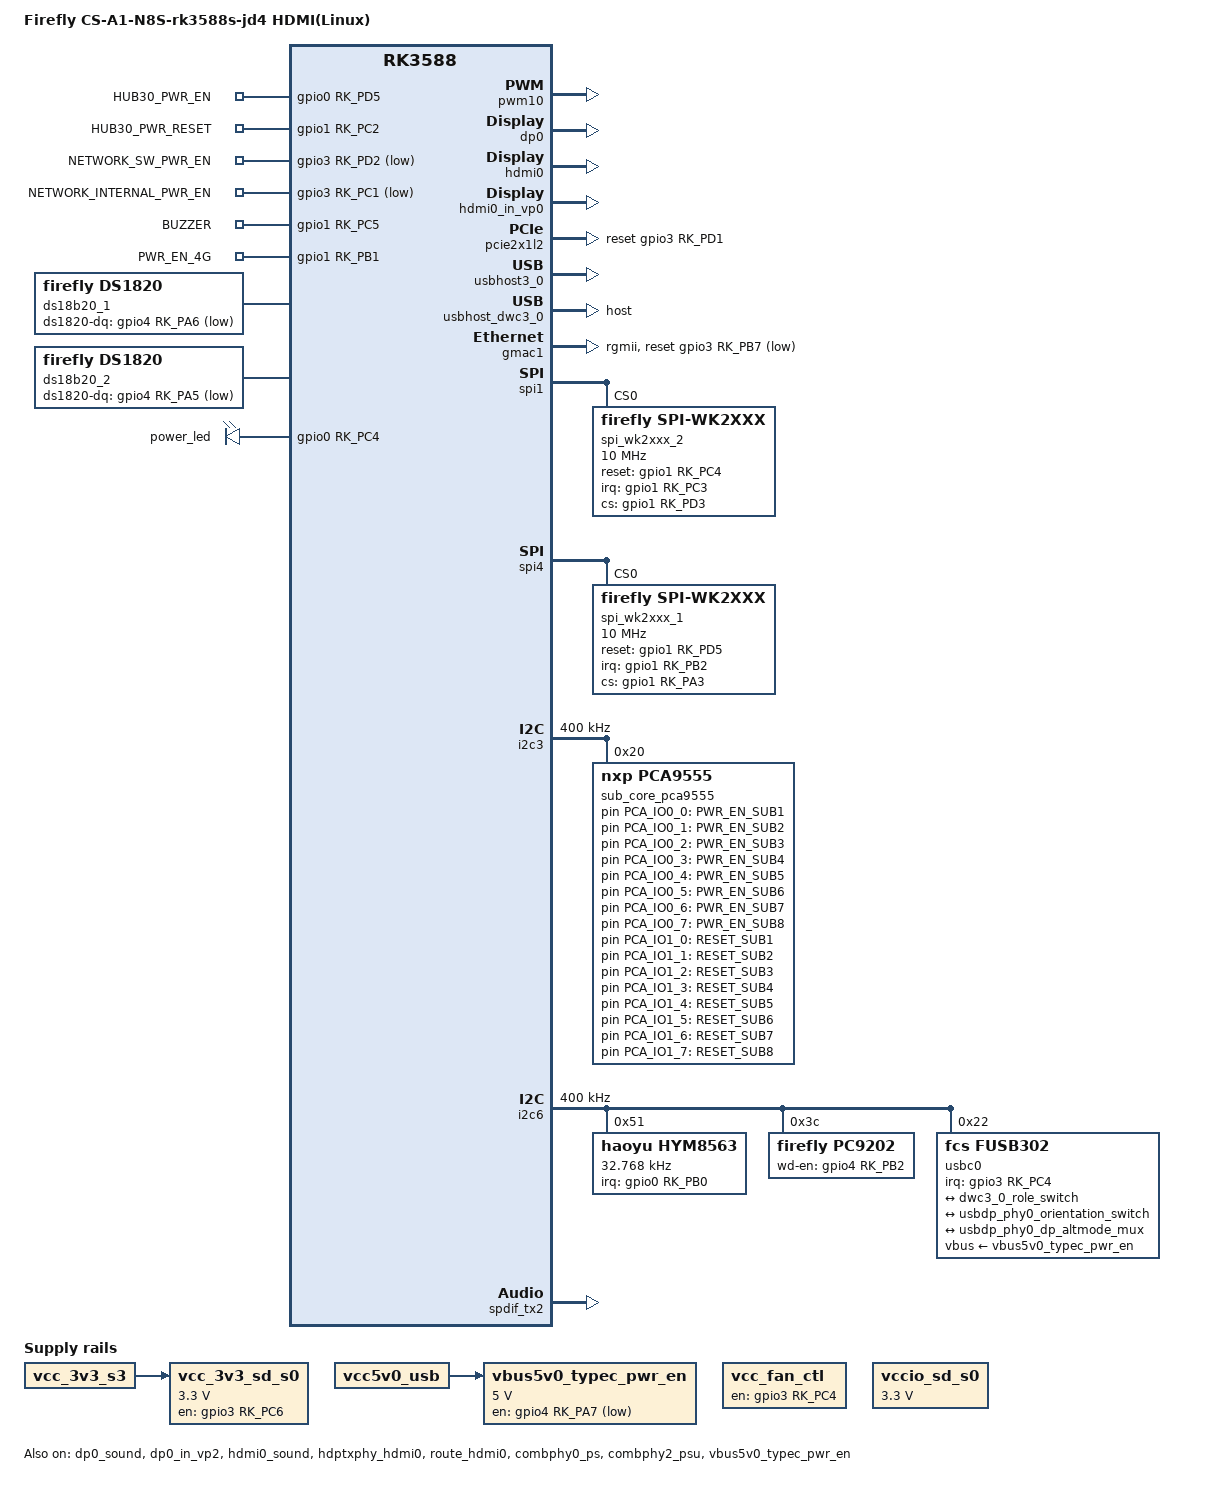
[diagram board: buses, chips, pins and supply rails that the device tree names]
// SPDX-License-Identifier: (GPL-2.0+ OR MIT)
/*
 * Copyright (c) 2021 Firefly Electronics Co., Ltd.
 *
 */

/dts-v1/;

// #include "aio-3588sjd4.dtsi"
// #include "aio-3588sjd4-cam-8ms1m.dtsi"
// #include "aio-3588sjd4-cam-dcphy-8ms1m.dtsi"

// SPDX-License-Identifier: (GPL-2.0+ OR MIT)
/*
 * Copyright (c) 2021 T-chip Firefly Electronics Co., Ltd.
 *
 */

#include "rk3588-firefly-port.dtsi"

/ {
	model = "Firefly CS-A1-N8S-3588s-jd4-main HDMI(Linux)";
	compatible = "rockchip,aio-3588sjd4", "rockchip,rk3588";
};


// SPDX-License-Identifier: (GPL-2.0+ OR MIT)
/*
 * Copyright (c) 2021 T-chip Firefly Electronics Co., Ltd.
 *
 */

#include "rk3588-firefly-port.dtsi"

/ {
	chosen: chosen {
		bootargs = "earlycon=uart8250,mmio32,0xfeb50000 console=ttyFIQ0 irqchip.gicv3_pseudo_nmi=0 root=PARTLABEL=rootfs rootfstype=ext4 ro rootwait overlayroot=device:dev=PARTLABEL=userdata,fstype=ext4,mkfs=1 coherent_pool=1m systemd.gpt_auto=0 cgroup_enable=memory swapaccount=1";
	};
	firefly_leds: leds {
		// pinctrl-names = "default";
		// pinctrl-0 =<&leds_gpio>;
		// power_led: power {
		// 	gpios = <&gpio1 RK_PD2 GPIO_ACTIVE_HIGH>;//blue led
		// };

		// user_led: user {
		// 	gpios = <&gpio1 RK_PC1 GPIO_ACTIVE_HIGH>;//red led
		// };
	};

        // vcc_4g_pwren: vcc-4g-pwren-regulator {
        //         compatible = "regulator-fixed";
        //         regulator-name = "vcc_4g_pwren";
        //         regulator-always-on;
        //         enable-active-high;
        //         status = "okay";
        //         gpio = <&pca9555 PCA_IO1_4 GPIO_ACTIVE_HIGH>;
        // };

        vcc_fan_ctl: vcc-fan-ctl-regulator {
                compatible = "regulator-fixed";
                regulator-name = "vcc_fan_ctl";
                regulator-always-on;
                enable-active-high;
                status = "okay";
                gpio = <&gpio3 RK_PC4 GPIO_ACTIVE_HIGH>;
        };

	vcc_3v3_sd_s0: vcc-3v3-sd-s0 {
		compatible = "regulator-fixed";
		regulator-name = "vcc_3v3_sd_s0";
		regulator-min-microvolt = <3300000>;
		regulator-max-microvolt = <3300000>;
		gpios = <&gpio3 RK_PC6 GPIO_ACTIVE_HIGH>;
		enable-active-high;
		vin-supply = <&vcc_3v3_s3>;
			regulator-state-mem {
			regulator-off-in-suspend;
		};
	};

    // vcc_3v0_sata: vcc-3v0-sata-regulator {
    //     compatible = "regulator-fixed";
    //     regulator-name = "vcc_3v0_sata";
    //     regulator-always-on;
    //     enable-active-high;
    //     status = "okay";
    //     gpio = <&pca9555 PCA_IO0_0 GPIO_ACTIVE_HIGH>;
    // };


    // gl3321g: gl3321g-pwr-gpio {
    //     compatible = "firefly,gl3321g-gpio";
    //     firefly-mdelay = <500>;
    //     firefly-gl3321g-gpio = <&pca9555 PCA_IO1_5 GPIO_ACTIVE_HIGH>;
    //     status = "okay";
    // };


        // wireless_bluetooth: wireless-bluetooth {
        //         compatible = "bluetooth-platdata";
        //         clocks = <&hym8563>;
        //         clock-names = "ext_clock";
        //         uart_rts_gpios = <&gpio3 RK_PD2 GPIO_ACTIVE_LOW>;
        //         pinctrl-names = "default", "rts_gpio";
        //         pinctrl-0 = <&uart9m2_rtsn>,  <&bt_reset_gpio>, <&bt_wake_gpio>, <&bt_irq_gpio>;
        //         pinctrl-1 = <&uart9_gpios>;
        //         BT,reset_gpio    = <&gpio0 RK_PD0 GPIO_ACTIVE_HIGH>;
        //         BT,wake_gpio     = <&gpio0 RK_PC6 GPIO_ACTIVE_HIGH>;
        //         BT,wake_host_irq = <&gpio0 RK_PC5 GPIO_ACTIVE_HIGH>;
        //         status = "okay";
        // };

        // wireless_wlan: wireless-wlan {
        //         compatible = "wlan-platdata";
        //         wifi_chip_type = "ap6275p";
        //         pinctrl-names = "default";
        //         pinctrl-0 = <&wifi_host_wake_irq>, <&wifi_poweren_gpio>;
        //         WIFI,host_wake_irq = <&gpio0 RK_PA0 GPIO_ACTIVE_HIGH>;
        //         WIFI,poweren_gpio = <&gpio0 RK_PC7 GPIO_ACTIVE_HIGH>;
        //         status = "okay";
        // };

	firefly_wake {
		compatible = "firefly-wake";
		status = "okay";
	};
};


/ {
	model = "Firefly CS-A1-N8S-rk3588s-jd4 HDMI(Linux)";
	compatible = "rockchip,aio-3588sjd4", "rockchip,rk3588";

	ds18b20_1 {
		compatible = "firefly,ds1820";
		status = "okay";
		ds1820-dq = <&gpio4 RK_PA6 GPIO_ACTIVE_LOW>; //GPIO4_A6 TEMP_DET_1
		ds18b20-id = <1>;
		pinctrl-names = "default";
		pinctrl-0 = <&ds18b20_dp_1_pin>;
	};

	ds18b20_2 {
		compatible = "firefly,ds1820";
		ds1820-dq = <&gpio4 RK_PA5 GPIO_ACTIVE_LOW>; //GPIO4_A5 TEMP_DET_2
		ds18b20-id = <2>;
		status = "okay";
		pinctrl-names = "default";
		pinctrl-0 = <&ds18b20_dp_2_pin>;
	};


	leds {
		compatible = "gpio-leds";
		status = "okay";
		/delete-node/ user;

		HUB30_PWR_EN {
			//BMC LED
			label = "HUB30_PWR_EN";
			gpios = <&gpio0 RK_PD5 GPIO_ACTIVE_HIGH>;	//GPIO0_D5
			default-state = "on";
			retain-state-shutdown;
		};

		HUB30_PWR_RESET {
			label = "HUB30_PWR_RESET";
			gpios = <&gpio1 RK_PC2 GPIO_ACTIVE_HIGH>;   //GPIO1_C2
			default-state = "off";
			retain-state-shutdown;
		};

		NETWORK_SW_PWR_EN {
			label = "NETWORK_SW_PWR_EN";
			gpios = <&gpio3 RK_PD2 GPIO_ACTIVE_LOW>;   //GPIO3_D2
			default-state = "on";
			retain-state-shutdown;
		};

		NETWORK_INTERNAL_PWR_EN {
			label = "NETWORK_INTERNAL_PWR_EN";
			gpios = <&gpio3 RK_PC1 GPIO_ACTIVE_LOW>;   // GPIO3_C1
			default-state = "on";
		};

		// SW_9310_RESET_H {
		// 	label = "SW_9310_RESET_H";
		// 	gpios = <&gpio0 RK_PC0 GPIO_ACTIVE_HIGH>;   //GPIO0_C0
		// 	default-state = "off";
		// };


		//子板的reset脚，写0会reset子板
		PWR_EN_SUB1 {
			label = "PWR_EN_SUB1";
			gpios = <&sub_core_pca9555 PCA_IO0_0 GPIO_ACTIVE_HIGH>;	///GPIO4_B3
			default-state = "on";
			retain-state-shutdown;
		};

		PWR_EN_SUB2 {
			label = "PWR_EN_SUB2";
			gpios = <&sub_core_pca9555 PCA_IO0_1 GPIO_ACTIVE_HIGH>;	//GPIO4_B2
			default-state = "on";
			retain-state-shutdown;
		};

		PWR_EN_SUB3 {
			label = "PWR_EN_SUB3";
			gpios = <&sub_core_pca9555 PCA_IO0_2 GPIO_ACTIVE_HIGH>;	//GPIO4_D1
			default-state = "on";
			retain-state-shutdown;
		};

		PWR_EN_SUB4 {
			label = "PWR_EN_SUB4";
			gpios = <&sub_core_pca9555 PCA_IO0_3 GPIO_ACTIVE_HIGH>;	//GPIO4_D3
			default-state = "on";
			retain-state-shutdown;
		};

		PWR_EN_SUB5 {
			label = "PWR_EN_SUB5";
			gpios = <&sub_core_pca9555 PCA_IO0_4 GPIO_ACTIVE_HIGH>;	//GPIO4_D4
			default-state = "on";
			retain-state-shutdown;
		};

		PWR_EN_SUB6 {
			label = "PWR_EN_SUB6";
			gpios = <&sub_core_pca9555 PCA_IO0_5 GPIO_ACTIVE_HIGH>;	//GPIO4_D2
			default-state = "on";
			retain-state-shutdown;
		};

		PWR_EN_SUB7 {
			label = "PWR_EN_SUB7";
			gpios = <&sub_core_pca9555 PCA_IO0_6 GPIO_ACTIVE_HIGH>;	//GPIO4_B4
			default-state = "on";
			retain-state-shutdown;
		};

		PWR_EN_SUB8 {
			label = "PWR_EN_SUB8";
			gpios = <&sub_core_pca9555 PCA_IO0_7 GPIO_ACTIVE_HIGH>;	//GPIO4_D0
			default-state = "on";
			retain-state-shutdown;
		};

		////////////////////////RESET////////////////////////////

		RESET_SUB1 {
			label = "RESET_SUB1";
			gpios = <&sub_core_pca9555 PCA_IO1_0 GPIO_ACTIVE_HIGH>;	//GPIO1_C2
			default-state = "off";
			retain-state-shutdown;
		};

		RESET_SUB2 {
			label = "RESET_SUB2";
			gpios = <&sub_core_pca9555 PCA_IO1_1 GPIO_ACTIVE_HIGH>;	//GPIO1_C5
			default-state = "off";
			retain-state-shutdown;
		};

		RESET_SUB3 {
			label = "RESET_SUB3";
			gpios = <&sub_core_pca9555 PCA_IO1_2 GPIO_ACTIVE_HIGH>;	//GPIO1_C7
			default-state = "off";
			retain-state-shutdown;
		};

		RESET_SUB4 {
			label = "RESET_SUB4";
			gpios = <&sub_core_pca9555 PCA_IO1_3 GPIO_ACTIVE_HIGH>;	//GPIO1_D4
			default-state = "off";
			retain-state-shutdown;
		};

		RESET_SUB5 {
			label = "RESET_SUB5";
			gpios = <&sub_core_pca9555 PCA_IO1_4 GPIO_ACTIVE_HIGH>;	//GPIO1_C3
			default-state = "off";
			retain-state-shutdown;
		};

		RESET_SUB6 {
			label = "RESET_SUB6";
			gpios = <&sub_core_pca9555 PCA_IO1_5 GPIO_ACTIVE_HIGH>;	//GPIO1_D2
			default-state = "off";
			retain-state-shutdown;
		};

		RESET_SUB7 {
			label = "RESET_SUB7";
			gpios = <&sub_core_pca9555 PCA_IO1_6 GPIO_ACTIVE_HIGH>;	///GPIO1_D5
			default-state = "off";
			retain-state-shutdown;
		};

		RESET_SUB8 {
			label = "RESET_SUB8";
			gpios = <&sub_core_pca9555 PCA_IO1_7 GPIO_ACTIVE_HIGH>;	//GPIO1_C4
			default-state = "off";
			retain-state-shutdown;
		};


		// SEL_NORMAL_SUB1 {
		// 	label = "SEL_NORMAL_SUB1";
		// 	gpios = <&gpio1 RK_PB3 GPIO_ACTIVE_LOW>;	//GPIO1_B3
		// 	default-state = "on";
		// };

		// SEL_NORMAL_SUB2 {
		// 	label = "SEL_NORMAL_SUB2";
		// 	gpios = <&gpio1 RK_PB2 GPIO_ACTIVE_LOW>;	//GPIO1_B2
		// 	default-state = "on";
		// };

		// SEL_NORMAL_SUB3 {
		// 	label = "SEL_NORMAL_SUB3";
		// 	gpios = <&gpio1 RK_PA0 GPIO_ACTIVE_LOW>;	//GPIO1_A0
		// 	default-state = "on";
		// };

		// SEL_NORMAL_SUB4 {
		// 	label = "SEL_NORMAL_SUB4";
		// 	gpios = <&gpio1 RK_PA3 GPIO_ACTIVE_LOW>;	//GPIO1_A3
		// 	default-state = "on";
		// };

		// SEL_NORMAL_SUB5 {
		// 	label = "SEL_NORMAL_SUB5";
		// 	gpios = <&gpio1 RK_PA1 GPIO_ACTIVE_LOW>;	//GPIO1_A1
		// 	default-state = "on";
		// };

		// SEL_NORMAL_SUB6 {
		// 	label = "SEL_NORMAL_SUB6";
		// 	gpios = <&gpio1 RK_PA2 GPIO_ACTIVE_LOW>;	//GPIO1_A2
		// 	default-state = "on";
		// };

		// SEL_NORMAL_SUB7 {
		// 	label = "SEL_NORMAL_SUB7";
		// 	gpios = <&gpio1 RK_PD3 GPIO_ACTIVE_LOW>;	//GPIO1_D3
		// 	default-state = "on";
		// };

		// SEL_NORMAL_SUB8 {
		// 	label = "SEL_NORMAL_SUB8";
		// 	gpios = <&gpio1 RK_PC6 GPIO_ACTIVE_LOW>;	//GPIO1_C6
		// 	default-state = "on";
		// };


		BUZZER {
			//BMC LED
			label = "BUZZER";
			gpios = <&gpio1 RK_PC5 GPIO_ACTIVE_HIGH>;	//GPIO1_C5
			default-state = "off";
			pinctrl-names = "default";
			pinctrl-0 = <&buzzer_ctl>;
		};

		PWR_EN_4G {
			//BMC LED
			label = "PWR_EN_4G";
			gpios = <&gpio1 RK_PB1 GPIO_ACTIVE_HIGH>;	//GPIO1_B1
			default-state = "on";
		};
	};
};

// FAN_PWM
&pwm10 {
	pinctrl-0 = <&pwm10m2_pins>;
	status = "okay";
};


// //FAN1 PWM8_M2
// &pwm8 {
// 	pinctrl-0 = <&pwm8m2_pins>;
// 	status = "okay";
// };

// //FAN2 PWM9_M2
// &pwm9 {
// 	pinctrl-0 = <&pwm9m2_pins>;
// 	status = "okay";
// };

// //FAN3 PWM11_IR_M3
// &pwm11 {
// 	pinctrl-0 = <&pwm11m3_pins>;
// 	status = "okay";
// };

// //FAN4 PWM7_IR_M0
// &pwm7 {
// 	pinctrl-0 = <&pwm7m0_pins>;
// 	status = "okay";
// };

// //FAN5 PWM0_M0
// &pwm0 {
// 	pinctrl-0 = <&pwm0m0_pins>;
// 	status = "okay";
// };

// //FAN6 PWM6_M0
// &pwm6 {
// 	pinctrl-0 = <&pwm6m0_pins>;
// 	status = "okay";
// };

&i2c2 {
	status = "okay";
 };

&power_led {
	gpios = <&gpio0 RK_PC4 GPIO_ACTIVE_HIGH>;
};



// /* es8323 audio codec */
// &es8388_sound {
// 	status = "okay";
// 	compatible = "firefly,multicodecs-card";
// 	rockchip,card-name = "rockchip-es8388";
// 	hp-det-gpio = <&gpio1 RK_PC0 GPIO_ACTIVE_LOW>;
// 	hp-con-gpio = <&gpio3 RK_PC0 GPIO_ACTIVE_HIGH>;
// 	io-channels = <&saradc 4>;
// 	io-channel-names = "adc-detect";
// 	spk-con-gpio = <&gpio4 RK_PA0 GPIO_ACTIVE_HIGH>;
// 	rockchip,cpu = <&i2s0_8ch>;
// 	rockchip,codec = <&es8388_1>;
// 	rockchip,audio-routing =
// 			"Headphone", "LOUT1",
// 			"Headphone", "ROUT1",
// 			"Speaker", "LOUT2",
// 			"Speaker", "ROUT2",
// 			"Headphone", "Headphone Power",
// 			"Headphone", "Headphone Power",
// 	                "Speaker", "Speaker Power",
// 	                "Speaker", "Speaker Power",
// 			"LINPUT1", "Main Mic",
// 			"LINPUT2", "Main Mic",
// 			"RINPUT1", "Headset Mic",
// 			"RINPUT2", "Headset Mic";
// 	linein-type = <2>;
// 	pinctrl-names = "default";
// 	pinctrl-0 = <&hp_det>;
// };

// &i2c7 {
//         status = "okay";
//         pinctrl-names = "default";
//         pinctrl-0 = <&i2c7m0_xfer>;
//         es8388_1: es8388_1@11 {
// 		status = "okay";
//                 #sound-dai-cells = <0>;
//                 compatible = "everest,es8388", "everest,es8323";
//                 reg = <0x11>;
//                 clocks = <&cru I2S0_8CH_MCLKOUT>;
//                 clock-names = "mclk";
//                 assigned-clocks = <&cru I2S0_8CH_MCLKOUT>;
//                 assigned-clock-rates = <12288000>;
//                 pinctrl-names = "default";
//                 pinctrl-0 = <&i2s0_mclk>;
//         };
// };

&i2s0_8ch{
	status = "disabled";
};

/* display port0 */
&dp0_sound{
		status = "okay";
};

&dp0 {
	status = "okay";
};

&dp0_in_vp2 {
	status = "okay";
};

/* hdmi0 */
&hdmi0 {
	enable-gpios = <&gpio4 RK_PB6 GPIO_ACTIVE_HIGH>;
	status = "okay";
};

&hdmi0_in_vp0 {
	status = "okay";
};

&hdmi0_sound {
		status = "okay";
};

&hdptxphy_hdmi0 {
	status = "okay";
};

&route_hdmi0{
	status = "okay";
};

/* pcie2.0 */
&combphy0_ps {
	status = "okay";
};

&pcie2x1l1 {
	//reset-gpios = <&gpio4 RK_PA2 GPIO_ACTIVE_HIGH>;
	rockchip,skip-scan-in-resume;
	status = "disabled";
};

&sata2 {
	status = "disabled";
};



//pci
&pcie2x1l2 {
	//reset-gpios = <&gpio4 RK_PA2 GPIO_ACTIVE_HIGH>;
	reset-gpios = <&gpio3 RK_PD1 GPIO_ACTIVE_HIGH>;
	//prsnt-gpios = <&gpio4 RK_PA2 GPIO_ACTIVE_HIGH>;
	rockchip,skip-scan-in-resume;
	status = "okay";
};

/* usb3.0 */
&combphy2_psu {
	status = "okay";
};

&usbhost3_0 {
	status = "okay";
};

&usbhost_dwc3_0 {
	status = "okay";
	dr_mode = "host";
};


&vcc5v0_host {
	status = "okay";
 	// /delete-property/ regulator-boot-on;
	gpio = <&gpio4 RK_PB5 GPIO_ACTIVE_HIGH>;		//GPIO4_B5_d
	// /delete-property/ pinctrl-names;
	// /delete-property/ pinctrl-0;
};

// /* usb2.0 hub */
// &vcc_hub_reset {
// 	status = "okay";
// 	regulator-name = "vcc_hub2_reset";
// 	gpio = <&pca9555 PCA_IO0_7 GPIO_ACTIVE_HIGH>;
// };


/* typec0 */
&vbus5v0_typec_pwr_en {
	status = "okay";
	regulator-min-microvolt = <5000000>;
	regulator-max-microvolt = <5000000>;
	gpios = <&gpio4 RK_PA7 GPIO_ACTIVE_HIGH>;   ///GPIO4_A7

	vin-supply = <&vcc5v0_usb>;
	pinctrl-names = "default";
	pinctrl-0 = <&vbus5v0_typec_pwr_en_gpio>;
};

&gmac1{
 	snps,reset-gpio = <&gpio3 RK_PB7 GPIO_ACTIVE_LOW>;
	phy-mode = "rgmii";
	tx_delay = <0x45>;
	rx_delay = <0x34>;
	status = "okay";
};

&spi1 {
	status = "okay";
	max-freq = <48000000>;
	dev-port = <0>;
	pinctrl-0 = <&spi1m2_pins>;
	num-cs = <1>;

	spi_wk2xxx_2: spi_wk2xxx_2@0{
		status = "okay";
		compatible = "firefly,spi-wk2xxx";
		reg = <0x00>;
		index_base = <5>;
		spi-max-frequency = <10000000>;
		//power-gpio = <&gpio2 4 GPIO_ACTIVE_HIGH>;

		reset-gpio = <&gpio1 RK_PC4 GPIO_ACTIVE_HIGH>;		//WK2124_RST_2	GPIO1_C4
		irq-gpio = <&gpio1 RK_PC3 IRQ_TYPE_EDGE_FALLING>;	//WK2124_INT_2	GPIO1_C3
		cs-gpio = <&gpio1 RK_PD3 GPIO_ACTIVE_HIGH>;			//SPI1_CS0_M2	GPIO1_D3

		pinctrl-0 = <&wk2xxx_2_irq_gpios>;
		pinctrl-names = "default";
	};
};

/* PMIC spi2 */
&spi2 {
	pinctrl-names = "default";
	pinctrl-0 = <&spi2m2_cs0 &spi2m2_pins>;
	num-cs = <1>;
};

&spi4 {
	status = "okay";
	max-freq = <48000000>;
	dev-port = <0>;
	pinctrl-0 = <&spi4m2_pins>;
	num-cs = <1>;

	spi_wk2xxx_1: wk2xxx_spi@0{
		status = "okay";
		compatible = "firefly,spi-wk2xxx";
		reg = <0x00>;
		index_base = <1>;
		spi-max-frequency = <10000000>;
		reset-gpio = <&gpio1 RK_PD5 GPIO_ACTIVE_HIGH>;		//WK2124_RST_1	GPIO1_D5
		irq-gpio = <&gpio1 RK_PB2 IRQ_TYPE_EDGE_FALLING>;	//WK2124_INT_1	GPIO1_B2
		cs-gpio = <&gpio1 RK_PA3 GPIO_ACTIVE_HIGH>;			//SPI4_CS0_M2	GPIO1_A3

		//pinctrl-0 = <&reset_gpios>,<&irq_gpios>,<&cs_gpios>;
		//pinctrl-names = "default";
		pinctrl-0 = <&wk2xxx_1_irq_gpios>;
		pinctrl-names = "default";
	};
};

&sdmmc {
	status = "disabled";
	vmmc-supply = <&vcc_3v3_sd_s0>;
};

&i2c2 {
	status = "disabled";
	pinctrl-names = "default";
	pinctrl-0 = <&i2c2m0_xfer>;
};

&i2c4 {
	status = "disabled";
	pinctrl-names = "default";
	pinctrl-0 = <&i2c4m3_xfer>;
};


&i2c3 {
	status = "okay";
	clock-frequency = <400000>;
	pinctrl-names = "default";
	pinctrl-0 = <&i2c3m4_xfer>;

	sub_core_pca9555: gpio@20 {
		status = "okay";
		compatible = "nxp,pca9555";
		reg = <0x20>;
		gpio-controller;
		#gpio-cells = <2>;
		gpio-group-num = <250>;
    };
};


&vccio_sd_s0 {
    regulator-min-microvolt = <3300000>;
    regulator-max-microvolt = <3300000>;
    //regulator-name = "vccio_sd_s0";
	regulator-name = "vccio_sub_core_pca9555_s0";
};


// &i2c5 {
// 	status = "okay";
// 	pinctrl-names = "default";
// 	pinctrl-0 = <&i2c5m1_xfer>;
// };

&i2c6 {
	status = "okay";
	clock-frequency = <400000>;
   	pinctrl-names = "default";
	pinctrl-0 = <&i2c6m3_xfer>;

	hym8563: hym8563@51 {
		compatible = "haoyu,hym8563";
		reg = <0x51>;
		#clock-cells = <0>;
		clock-frequency = <32768>;
		clock-output-names = "hym8563";
		pinctrl-names = "default";
		pinctrl-0 = <&hym8563_int>;
		interrupt-parent = <&gpio0>;
		interrupts = <RK_PB0 IRQ_TYPE_LEVEL_LOW>;
		wakeup-source;
		status = "okay";
	};

	pc9202: pc9202@3c {
		status = "okay";
		compatible = "firefly,pc9202";
		reg = <0x3c>;
		wd-en-gpio = <&gpio4 RK_PB2 GPIO_ACTIVE_HIGH>;         //GPIO4_B2
		pinctrl-names = "default";
		pinctrl-0 = <&wdt_ctl>;
	};


	pca9555: gpio@21 {
               status = "disabled";
               compatible = "nxp,pca9555";
               reg = <0x21>;
               gpio-controller;
               #gpio-cells = <2>;
               gpio-group-num = <200>;
       };


	usbc0: fusb302@22 {
		compatible = "fcs,fusb302";
		reg = <0x22>;
		interrupt-parent = <&gpio3>;
		interrupts = <RK_PC4 IRQ_TYPE_LEVEL_LOW>;
		pinctrl-names = "default";
		pinctrl-0 = <&usbc0_int>;
		vbus-supply = <&vbus5v0_typec_pwr_en>;
		status = "okay";

		ports {
			#address-cells = <1>;
			#size-cells = <0>;

			port@0 {
				reg = <0>;
				usbc0_role_sw: endpoint@0 {
					remote-endpoint = <&dwc3_0_role_switch>;
				};
			};
		};

		usb_con: connector {
			compatible = "usb-c-connector";
			label = "USB-C";
			data-role = "dual";
			power-role = "dual";
			try-power-role = "sink";
			op-sink-microwatt = <1000000>;
			sink-pdos =
				<PDO_FIXED(5000, 1000, PDO_FIXED_USB_COMM)>;
			source-pdos =
				<PDO_FIXED(5000, 3000, PDO_FIXED_USB_COMM)>;

			altmodes {
				#address-cells = <1>;
				#size-cells = <0>;

				altmode@0 {
					reg = <0>;
					svid = <0xff01>;
					vdo = <0xffffffff>;
				};
			};

			ports {
				#address-cells = <1>;
				#size-cells = <0>;

				port@0 {
					reg = <0>;
					usbc0_orien_sw: endpoint {
						remote-endpoint = <&usbdp_phy0_orientation_switch>;
					};
				};

				port@1 {
					reg = <1>;
					dp_altmode_mux: endpoint {
						remote-endpoint = <&usbdp_phy0_dp_altmode_mux>;
					};
				};
			};
		};
	};

};

// &usbdrd_dwc3_0 {
// 	dr_mode = "host";
// };

&usbdp_phy0 {
	sbu1-dc-gpios = <&gpio4 RK_PA3 GPIO_ACTIVE_HIGH>;
	sbu2-dc-gpios = <&gpio4 RK_PD5 GPIO_ACTIVE_HIGH>;
};

//for dp
&spdif_tx2 {
	status = "okay";
};

// &can2 {
//     status = "okay";
//     pinctrl-names = "default";
//     pinctrl-0 = <&can2m1_pins>;
// };

// &uart0 {
//     status = "okay";
//     pinctrl-names = "default";
//     pinctrl-0 = <&uart0m2_xfer>;
// };

// &uart3 {
//     status = "okay";
//     pinctrl-names = "default";
//     pinctrl-0 = <&uart3m2_xfer>;
// };

&pinctrl {

	buzzer_pin {
		buzzer_ctl: buzzer-ctl {
				rockchip,pins =
				<1 RK_PC5 RK_FUNC_GPIO &pcfg_pull_none>;            //GPIO1_C5
		};
	};

	watchdog {
		wdt_ctl: wdt-ctl {
				rockchip,pins =
				<4 RK_PA4 RK_FUNC_GPIO &pcfg_pull_none>;            //GPIO3_D0
		};
	};

	vbus5v0-typec {
		vbus5v0_typec_pwr_en_gpio: vbus5v0-typec-pwr-en-gpio {
			rockchip,pins = <4 RK_PA7 RK_FUNC_GPIO &pcfg_pull_none>;
		};
	};

	network-reset {
		SW_9310_RESET_H_PIN: SW-9310-RESET-H-PIN {
			rockchip,pins = <0 RK_PC0 RK_FUNC_GPIO &pcfg_pull_none>;  //GPIO0_C0
		};
	};

	ds18b20-dp-1 {
		ds18b20_dp_1_pin: ds18b20-dp-1-pin {
			rockchip,pins = <4 RK_PA6 RK_FUNC_GPIO &pcfg_pull_none>;  //GPIO4_A6
		};
	};

	ds18b20-dp-2 {
		ds18b20_dp_2_pin: ds18b20-dp-2-pin {
			rockchip,pins = <4 RK_PA5 RK_FUNC_GPIO &pcfg_pull_none>;  //GPIO4_A5
		};
	};

	leds {
		leds_gpio: leds-gpio {
			rockchip,pins =
						/* led_user */
						//<1 RK_PD5 RK_FUNC_GPIO &pcfg_pull_none>,
						/* led_power */
						<1 RK_PD2 RK_FUNC_GPIO &pcfg_pull_none>;
		};
	};

	headphone {
		hp_det: hp-det {
			rockchip,pins = <1 RK_PC0 RK_FUNC_GPIO &pcfg_pull_none>;
		};
	};

	hym8563 {
		hym8563_int: hym8563-int {
			rockchip,pins = <0 RK_PB0 RK_FUNC_GPIO &pcfg_pull_up>;
		};
	};

	usb-typec {
		usbc0_int: usbc0-int {
			rockchip,pins = <3 RK_PC4 RK_FUNC_GPIO &pcfg_pull_up>;
		};

	};

        wireless-bluetooth {
                uart9_gpios: uart9-gpios {
                        rockchip,pins = <3 RK_PD2 RK_FUNC_GPIO &pcfg_pull_none>;
                };

                bt_reset_gpio: bt-reset-gpio {
                        rockchip,pins = <0 RK_PD0 RK_FUNC_GPIO &pcfg_pull_none>;
                };

                bt_wake_gpio: bt-wake-gpio {
                        rockchip,pins = <0 RK_PC6 RK_FUNC_GPIO &pcfg_pull_none>;
                };

                bt_irq_gpio: bt-irq-gpio {
                        rockchip,pins = <0 RK_PC5 RK_FUNC_GPIO &pcfg_pull_down>;
                };
        };

        wireless-wlan {
                wifi_host_wake_irq: wifi-host-wake-irq {
                        rockchip,pins = <0 RK_PA0 RK_FUNC_GPIO &pcfg_pull_down>;
                };

                wifi_poweren_gpio: wifi-poweren-gpio {
                        rockchip,pins = <0 RK_PC7 RK_FUNC_GPIO &pcfg_pull_up>;
                };
        };

	wk2xxx-irq-gpios {
		wk2xxx_1_irq_gpios: wk2xxx-1-irq-gpios{
			rockchip,pins = <1 RK_PB2 RK_FUNC_GPIO &pcfg_pull_none>;
		};

		wk2xxx_2_irq_gpios: wk2xxx-2-irq-gpios{
			rockchip,pins = <1 RK_PC3 RK_FUNC_GPIO &pcfg_pull_none>;
		};
	};
};
